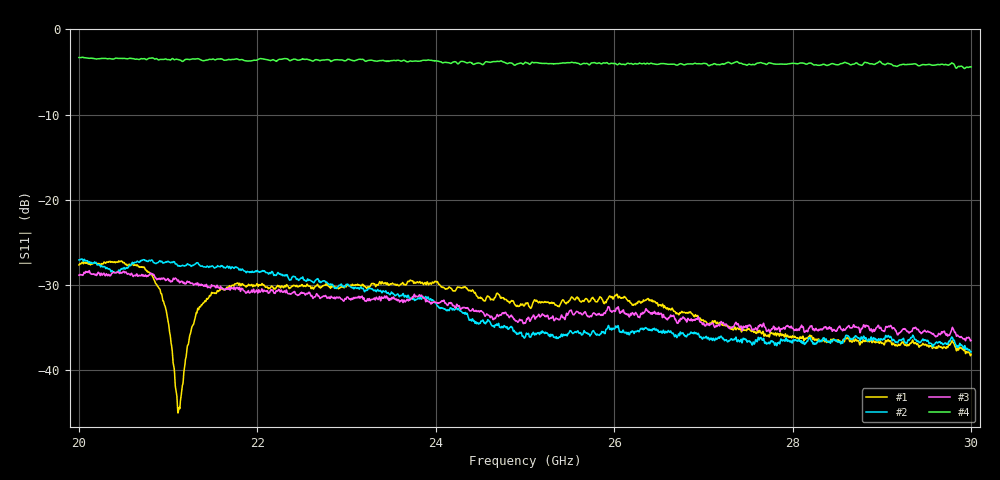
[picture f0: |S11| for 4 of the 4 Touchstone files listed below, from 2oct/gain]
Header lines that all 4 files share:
#  HZ  S  RI  R  50.00
! Rohde & Schwarz ZVA40 4Ports - Version 3.90 - 1145.1110k42 SN: 100403
! Measurement: S12
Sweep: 20 GHz to 30 GHz
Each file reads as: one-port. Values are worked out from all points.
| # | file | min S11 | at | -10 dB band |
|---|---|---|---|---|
| 1 | off_15deg.s1p | -45.0 dB | 21.11 GHz | over 10 GHz wide |
| 2 | on_15deg.s1p | -37.9 dB | 30 GHz | over 10 GHz wide |
| 3 | screen_mirror_15deg.s1p | -36.5 dB | 29.99 GHz | over 10 GHz wide |
| 4 | through.s1p | -4.6 dB | 29.93 GHz | - |
